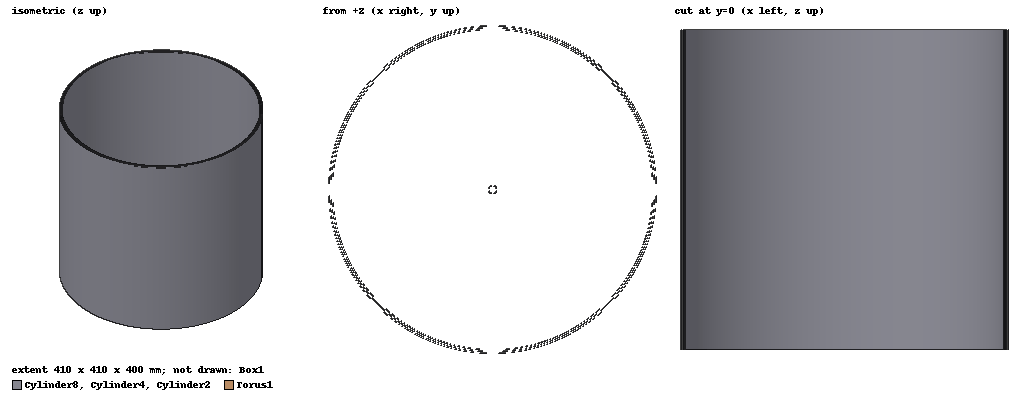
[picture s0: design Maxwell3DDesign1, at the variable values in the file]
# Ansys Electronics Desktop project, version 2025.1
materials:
  vacuum: permittivity=1
  ferrite: permittivity=12 permeability=1000 conductivity=0.01
  copper: permeability=0.999991 conductivity=58000000

design Maxwell3DDesign1 (Maxwell 3D, Magnetostatic, model units mm)
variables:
  g = (5mm-3*a)/2
  a = 0.5mm
  b = 0mm
  t = 1mm
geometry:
  Cylinder1 = cylinder(axis=Z, base_centre=(0mm, 0mm, -200mm), radius=200mm, height=400mm)
  Cylinder2 [ferrite] = cylinder(axis=Z, base_centre=(0mm, 0mm, -200mm), radius=200mm+a, height=400mm)
  Cylinder2.subtract(Cylinder1)
  Cylinder3 = cylinder(axis=Z, base_centre=(0mm, 0mm, -200mm), radius=200mm+a+g, height=400mm)
  Cylinder4 [ferrite] = cylinder(axis=Z, base_centre=(0mm, 0mm, -200mm), radius=200mm+2*a+g, height=400mm)
  Cylinder4.subtract(Cylinder3)
  Torus1 [copper] = torus(axis=Z, centre=(0mm, 0mm, 0mm), major_radius=5mm, minor_radius=0.5mm)
  Torus1_Section1 [copper] = Torus1.section(plane=YZ)
  Torus1_Section1.separate_bodies()
  Box1 [vacuum] = box(corner=(-400mm, -400mm, -400mm), size=(800mm, 800mm, 800mm))
  Cylinder5 = cylinder(axis=Z, base_centre=(0mm, 0mm, -200mm), radius=200mm+2*a+2*g, height=400mm)
  Cylinder6 [ferrite] = cylinder(axis=Z, base_centre=(0mm, 0mm, -200mm), radius=200mm+3*a+2*g, height=400mm)
  Cylinder6.subtract(Cylinder5)
  Cylinder7 = cylinder(axis=Z, base_centre=(0mm, 0mm, -200mm), radius=205mm-a, height=400mm)
  Cylinder8 [ferrite] = cylinder(axis=Z, base_centre=(0mm, 0mm, -200mm), radius=205mm, height=400mm)
  Cylinder8.subtract(Cylinder7)
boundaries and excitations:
  Current2: Current Objects=Torus1_Section1 Current=1mA IsSolid=true Point_out_of_terminal=false
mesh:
  Length1: LengthBased Objects=[Cylinder8, Cylinder6, Cylinder2, Cylinder4] NumMaxElem=2000 MaxLength=50mm
  Length2: LengthBased RefineInside Objects=[Cylinder8, Cylinder6, Cylinder4, Cylinder2] NumMaxElem=2000 MaxLength=50mm
  initial mesh: GlobalCurvilinear{Apply}
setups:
  Setup1: Magnetostatic MaximumPasses=10 MinimumPasses=2 MinimumConvergedPasses=1 PercentRefinement=30 PercentError=1 NonLinearResidual=0.001
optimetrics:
  ParametricSetup1: Parametric Sim._Setups=[Setup1]
    sweep a: LIN 0.4mm 1.2mm 0.1mm
  ParametricSetup2: Parametric Sim._Setups=[Setup1]
    sweep a: LIN 0.4mm 1.2mm 0.1mm
    table edits: add(1.2mm) del(1.2mm)
  ParametricSetup3: Parametric Sim._Setups=[Setup1]
    sweep a: LIN 0.4mm 1mm 0.1mm
  ParametricSetup4: Parametric Sim._Setups=[Setup1]
  ParametricSetup5: Parametric Sim._Setups=[Setup1]
    sweep a: LIN 0.1mm 0.4mm 0.1mm
    calculate __InH2_total on Setup1 : LastAdaptive
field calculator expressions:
  IntH2_cyl2 = Mag_H | Mag_H | * | EnterVolume(Cylinder2) | VolumeValue | Integrate
  IntH2_cyl4 = Mag_H | Mag_H | * | EnterVolume(Cylinder4) | VolumeValue | Integrate
  IntH2_total = IntH2_cyl2 | IntH2_cyl4 | +
  IntH2_s1 = Mag_H | Mag_H | * | EnterVolume(Cylinder2) | VolumeValue | Integrate
  IntH2_s2 = Mag_H | Mag_H | * | EnterVolume(Cylinder4) | VolumeValue | Integrate
  IntH2_s3 = Mag_H | Mag_H | * | EnterVolume(Cylinder6) | VolumeValue | Integrate
  IntH2_intotal = IntH2_s1 | IntH2_s2 | + | IntH2_s3 | +
  InH2_s4 = Mag_H | Mag_H | * | EnterVolume(Cylinder8) | VolumeValue | Integrate
  __InH2_total = IntH2_s1 | IntH2_s2 | + | IntH2_s3 | + | InH2_s4 | +
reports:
  Calculator Expressions Table1: __InH2_total vs a on Setup1 : LastAdaptive
